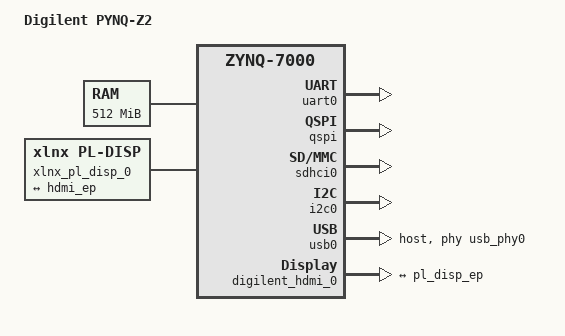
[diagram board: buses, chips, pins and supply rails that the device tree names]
// SPDX-License-Identifier: GPL-2.0+
// PYNQ-Z2 (XC7Z020-1CLG400C): all board- and PL-specific device tree content,
// layered over the kernel's zynq-7000.dtsi (resolved via KERNEL_INCLUDE).
//
// Part 1 - board: memory, console, PS clock input, enabled peripherals.
// Part 2 - PL HDMI pipeline:
//   DDR -> v_frmbuf_rd (DMA) -> v_axi4s_vid_out -> rgb2dvi -> HDMI,
//   with v_tc timing and axi_dynclk pixel clock. The xlnx-pl-disp DRM bridge
//   consumes the frmbuf DMA channel; digilent-hdmi is the DRM encoder/connector.
//
// Addresses / IRQs / clocks are fixed by design_1_wrapper_fb.xsa:
//   frmbuf ctrl 0x43c20000, vtc 0x43c00000, dynclk 0x43c10000, gpio 0x41200000
//   IRQ_F2P: In0 frmbuf -> SPI 61 (<0 29 4>), In1 v_tc -> SPI 62 (<0 30 4>)
//   FCLK0 = clkc 15 (100 MHz), FCLK1 = clkc 16 (200 MHz, frmbuf ap_clk)

/* ------------------------------- board ------------------------------- */

/ {
	model = "Digilent PYNQ-Z2";
	compatible = "digilent,zynq-pynq-z2", "xlnx,zynq-7000";

	aliases {
		ethernet0 = &gem0;
		serial0   = &uart0;
		spi0      = &qspi;
		mmc0      = &sdhci0;
	};

	memory@0 {
		device_type = "memory";
		reg = <0x0 0x20000000>;	/* 512 MB DDR3 */
	};

	chosen {
		bootargs = "console=ttyPS0,115200 earlycon root=/dev/mmcblk0p2 rw rootwait";
		stdout-path = "serial0:115200n8";
	};

	/* ULPI USB PHY (board) */
	usb_phy0: usb_phy@0 {
		#phy-cells = <0>;
		compatible = "ulpi-phy";
		reg = <0xe0002000 0x1000>;
		view-port = <0x0170>;
		reset-gpios = <&gpio0 46 1>;
		drv-vbus;
	};
};

/* PYNQ-Z2 PS_CLK crystal is 50 MHz (most Zynq boards are 33.33 MHz, which is
 * the driver default). Without this every PLL-derived rate Linux computes is
 * 1.5x off — the UART driver then programs its baud divisor from the wrong
 * uart_clk and the 115200 console comes out as garbage (~172800 actual). */
&clkc {
	ps-clk-frequency = <50000000>;
};

/* Console (baud comes from console=ttyPS0,115200 + correct uart_clk above) */
&uart0 {
	status = "okay";
};

/* QSPI flash controller */
&qspi {
	status = "okay";
};

/* SD card (rootfs) */
&sdhci0 {
	status = "okay";
};

/* I2C0 — HDMI EDID/DDC bus (used by digilent-hdmi) */
&i2c0 {
	status = "okay";
};

/* USB0 host */
&usb0 {
	status = "okay";
	dr_mode = "host";
	phy_type = "ulpi";
	usb-phy = <&usb_phy0>;
};

/* gem0 (Ethernet) left disabled — not used by this design. */

/* -------------------------- PL HDMI pipeline -------------------------- */

&amba {
	amba_pl: amba_pl {
		compatible = "simple-bus";
		#address-cells = <1>;
		#size-cells = <1>;
		interrupt-parent = <&intc>;
		ranges;
		/* PL masters (frmbuf) address DDR 0x0-0x20000000 (512 MB) 1:1 */
		dma-ranges = <0x0 0x0 0x20000000>;

		/* 1-bit AXI GPIO output, sole purpose: drive the frmbuf's
		 * ap_rst_n. The frmbuf is an HLS core whose only reset is the
		 * hardware pin, and the driver must toggle it via this GPIO. */
		axi_gpio0: gpio@41200000 {
			compatible = "xlnx,xps-gpio-1.00.a";
			reg = <0x41200000 0x10000>;
			#gpio-cells = <2>;
			gpio-controller;
			xlnx,all-outputs = <1>;
			xlnx,gpio-width = <1>;
			clocks = <&clkc 15>;
		};

		/* Video Frame Buffer Read — replaces the VDMA + subset-converter
		 * gasket. Single ap_clk on FCLK1 (clkc 16, 200 MHz); control at
		 * 0x43c20000; frame-done IRQ on xlconcat In0 (SPI 61). BGRX8
		 * memory format == DRM XR24. Reset via axi_gpio0 (active-low). */
		v_frmbuf_rd_0: v_frmbuf_rd@43c20000 {
			compatible = "xlnx,v-frmbuf-rd-v3.0";
			reg = <0x43c20000 0x10000>;
			interrupt-parent = <&intc>;
			interrupts = <0 29 4>;
			clocks = <&clkc 16>;
			clock-names = "ap_clk";
			reset-gpios = <&axi_gpio0 0 1>;  /* 1 = GPIO_ACTIVE_LOW */
			xlnx,dma-addr-width = <32>;
			xlnx,vid-formats = "xrgb8888";
			xlnx,pixels-per-clock = <1>;
			/* Required by xilinx_frmbuf driver (probe -EINVAL if absent);
			 * must match the IP's Max Columns/Rows config (3840x2160). */
			xlnx,max-width = <3840>;
			xlnx,max-height = <2160>;
			#dma-cells = <1>;
		};

		axi_dynclk_0: axi-dynclk@43c10000 {
			compatible = "dglnt,axi-dynclk";
			reg = <0x43c10000 0x1000>;
			clocks = <&clkc 15>;
			#clock-cells = <0>;
		};

		v_tc_0: v-timing-controller@43c00000 {
			compatible = "xlnx,bridge-v-tc-6.1";
			reg = <0x43c00000 0x1000>;
			interrupts = <0 30 4>;
			interrupt-parent = <&intc>;
			xlnx,pixels-per-clock = <1>;
			/* 6.18 xlnx_vtc requires both clocks (optional on 5.15).
			 * Video clock is the dynclk output — the pixel clock. */
			clocks = <&clkc 15>, <&axi_dynclk_0>;
			clock-names = "s_axi_aclk", "clk";
		};

		/* Encoder for the PL rgb2dvi IP — no AXI interface, so no reg.
		 * Bound as a component of the xlnx DRM master, discovered via
		 * the of_graph endpoint link from xlnx_pl_disp. */
		digilent_hdmi_0: digilent_hdmi {
			compatible = "digilent,hdmi";
			clocks = <&axi_dynclk_0>;
			clock-names = "clk";
			digilent,edid-i2c = <&i2c0>;
			digilent,fmax = <150000>;

			port {
				hdmi_ep: endpoint {
					remote-endpoint = <&pl_disp_ep>;
				};
			};
		};

		xlnx_pl_disp_0: xlnx_pl_disp {
			compatible = "xlnx,pl-disp";
			dmas = <&v_frmbuf_rd_0 0>;
			dma-names = "dma0";
			xlnx,vformat = "XR24";
			xlnx,bridge = <&v_tc_0>;

			port {
				pl_disp_ep: endpoint {
					remote-endpoint = <&hdmi_ep>;
				};
			};
		};
	};
};
